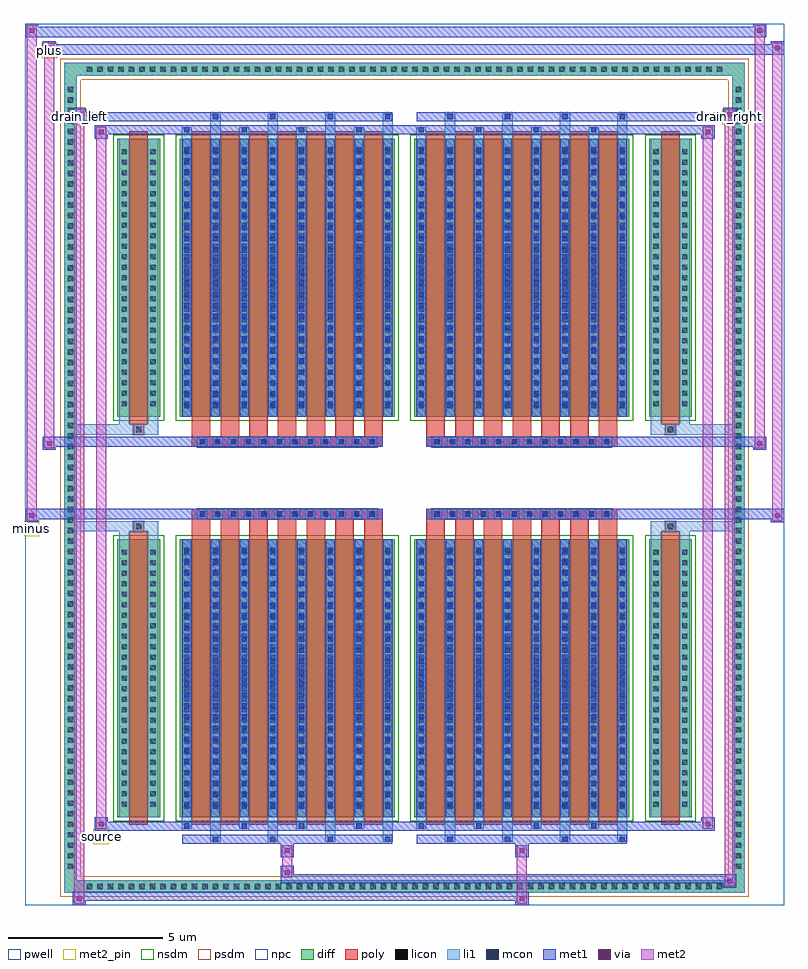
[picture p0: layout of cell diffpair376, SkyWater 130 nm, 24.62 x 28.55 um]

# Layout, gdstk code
import gdstk
lib = gdstk.Library(unit=1e-6, precision=5e-09)
def R(c, l, rs):  # rectangles x0, y0, x1, y1
    for r in rs: c.add(gdstk.rectangle(r[:2], r[2:], *l))
def A(c, l, x, y, w, h, nx, ny, dx, dy):  # array of equal rectangles
    R(c, l, [(x+i*dx, y+j*dy, x+i*dx+w, y+j*dy+h) for i in range(nx) for j in range(ny)])
def P(c, l, *ps):  # polygons
    for p in ps: c.add(gdstk.Polygon(p, *l))
pwell = (64, 44)
diff = (65, 20)
poly = (66, 20)
licon = (66, 44)
li1 = (67, 20)
mcon = (67, 44)
met1 = (68, 20)
via = (68, 44)
met2_pin = (69, 16)
met2 = (69, 20)
nsdm = (93, 44)
psdm = (94, 20)
npc = (95, 20)

diffpair376 = lib.new_cell('diffpair376')
R(diffpair376, pwell, [(-12.29,-13.84,12.29,14.71), (-9.61,-12.03,-0.01,-0.805), (0.01,-12.03,9.61,-0.805), (-9.61,0.805,-0.01,12.03), (0.01,0.805,9.61,12.03)])
A(diffpair376, diff, -10.405, -13.44, 0.41, 0.41, 61, 2, 0.34, 26.47)
A(diffpair376, diff, -11.02, -12.785, 0.41, 0.41, 1, 75, 0, 0.34)
A(diffpair376, diff, 10.61, -12.785, 0.41, 0.41, 1, 75, 0, 0.34)
R(diffpair376, diff, [(-10.405,-13.44,10.405,-13.03), (-11.02,-12.785,-10.61,12.785), (10.61,-12.785,11.02,12.785), (-9.3,-10.985,-7.92,-1.985), (-7.28,-10.985,-0.32,-1.985), (0.32,-10.985,7.28,-1.985), (7.92,-10.985,9.3,-1.985), (-9.3,1.985,-7.92,10.985), (-7.28,1.985,-0.32,10.985), (0.32,1.985,7.28,10.985), (7.92,1.985,9.3,10.985), (-10.405,13.03,10.405,13.44)])
P(diffpair376, diff, [(11.02,13.44),(-11.02,13.44),(-11.02,-13.03),(-10.61,-13.03),(-10.61,13.03),(10.61,13.03),(10.61,-13.03),(-10.61,-13.03),(-11.02,-13.03),(-11.02,-13.44),(11.02,-13.44)])
A(diffpair376, poly, -6.89, -11.235, 0.6, 9.5, 7, 2, 0.93, 12.97)
A(diffpair376, poly, 0.71, -11.235, 0.6, 9.5, 7, 2, 0.93, 12.97)
A(diffpair376, poly, -6.89, -1.735, 0.6, 0.4, 7, 2, 0.93, 3.07)
A(diffpair376, poly, 0.71, -1.735, 0.6, 0.4, 7, 2, 0.93, 3.07)
A(diffpair376, poly, -6.715, -1.335, 0.33, 0.33, 12, 2, 0.5, 2.34)
A(diffpair376, poly, 0.885, -1.335, 0.33, 0.33, 12, 2, 0.5, 2.34)
R(diffpair376, poly, [(-8.91,-11.235,-8.31,-1.735), (8.31,-11.235,8.91,-1.735), (-8.775,-1.735,-8.445,-1.405), (-8.775,-1.735,-8.445,-1.405), (8.445,-1.735,8.775,-1.405), (8.445,-1.735,8.775,-1.405), (-6.89,-1.335,-0.71,-1.005), (0.71,-1.335,6.89,-1.005), (-6.89,1.005,-0.71,1.335), (0.71,1.005,6.89,1.335), (-8.775,1.405,-8.445,1.735), (-8.775,1.405,-8.445,1.735), (8.445,1.405,8.775,1.735), (8.445,1.405,8.775,1.735), (-8.91,1.735,-8.31,11.235), (8.31,1.735,8.91,11.235)])
A(diffpair376, licon, -10.285, -13.32, 0.17, 0.17, 61, 2, 0.34, 26.47)
A(diffpair376, licon, -10.9, -12.665, 0.17, 0.17, 1, 75, 0, 0.34)
A(diffpair376, licon, 10.73, -12.665, 0.17, 0.17, 1, 75, 0, 0.34)
A(diffpair376, licon, -9.16, -10.65, 0.17, 0.17, 1, 25, 0, 0.34)
A(diffpair376, licon, -8.23, -10.65, 0.17, 0.17, 1, 25, 0, 0.34)
A(diffpair376, licon, -7.14, -10.65, 0.17, 0.17, 8, 25, 0.93, 0.34)
A(diffpair376, licon, 0.46, -10.65, 0.17, 0.17, 8, 25, 0.93, 0.34)
A(diffpair376, licon, 8.06, -10.65, 0.17, 0.17, 1, 25, 0, 0.34)
A(diffpair376, licon, 8.99, -10.65, 0.17, 0.17, 1, 25, 0, 0.34)
A(diffpair376, licon, -6.635, -1.255, 0.17, 0.17, 12, 2, 0.5, 2.34)
A(diffpair376, licon, 0.965, -1.255, 0.17, 0.17, 12, 2, 0.5, 2.34)
A(diffpair376, licon, -9.16, 2.32, 0.17, 0.17, 1, 25, 0, 0.34)
A(diffpair376, licon, -8.23, 2.32, 0.17, 0.17, 1, 25, 0, 0.34)
A(diffpair376, licon, -7.14, 2.32, 0.17, 0.17, 8, 25, 0.93, 0.34)
A(diffpair376, licon, 0.46, 2.32, 0.17, 0.17, 8, 25, 0.93, 0.34)
A(diffpair376, licon, 8.06, 2.32, 0.17, 0.17, 1, 25, 0, 0.34)
A(diffpair376, licon, 8.99, 2.32, 0.17, 0.17, 1, 25, 0, 0.34)
R(diffpair376, licon, [(-8.695,-1.655,-8.525,-1.485), (8.525,-1.655,8.695,-1.485), (-8.695,1.485,-8.525,1.655), (8.525,1.485,8.695,1.655)])
A(diffpair376, li1, -10.365, -13.4, 0.33, 0.33, 61, 2, 0.34, 26.47)
A(diffpair376, li1, -10.98, -12.745, 0.33, 0.33, 1, 75, 0, 0.34)
A(diffpair376, li1, 10.65, -12.745, 0.33, 0.33, 1, 75, 0, 0.34)
A(diffpair376, li1, -6.29, -11.79, 0.33, 0.805, 4, 2, 1.86, 22.775)
A(diffpair376, li1, -6.21, -11.79, 0.17, 0.17, 4, 2, 1.86, 23.41)
A(diffpair376, li1, 1.31, -11.79, 0.33, 0.805, 4, 2, 1.86, 22.775)
A(diffpair376, li1, 1.39, -11.79, 0.17, 0.17, 4, 2, 1.86, 23.41)
A(diffpair376, li1, -7.22, -11.36, 0.33, 0.375, 4, 2, 1.86, 22.345)
A(diffpair376, li1, -7.14, -11.36, 0.17, 0.17, 4, 2, 1.86, 22.55)
A(diffpair376, li1, 0.38, -11.36, 0.33, 0.375, 4, 2, 1.86, 22.345)
A(diffpair376, li1, 0.46, -11.36, 0.17, 0.17, 4, 2, 1.86, 22.55)
A(diffpair376, li1, -7.22, -10.985, 0.33, 9, 8, 2, 0.93, 12.97)
A(diffpair376, li1, 0.38, -10.985, 0.33, 9, 8, 2, 0.93, 12.97)
A(diffpair376, li1, -9.24, -10.73, 0.33, 0.33, 1, 25, 0, 0.34)
A(diffpair376, li1, -8.31, -10.73, 0.33, 0.33, 1, 25, 0, 0.34)
A(diffpair376, li1, -7.22, -10.73, 0.33, 0.33, 8, 25, 0.93, 0.34)
A(diffpair376, li1, 0.38, -10.73, 0.33, 0.33, 8, 25, 0.93, 0.34)
A(diffpair376, li1, 7.98, -10.73, 0.33, 0.33, 1, 25, 0, 0.34)
A(diffpair376, li1, 8.91, -10.73, 0.33, 0.33, 1, 25, 0, 0.34)
A(diffpair376, li1, -7.14, -10.71, 0.17, 0.17, 8, 24, 0.93, 0.36)
A(diffpair376, li1, -7.14, -10.71, 0.17, 8.45, 8, 2, 0.93, 12.97)
A(diffpair376, li1, 0.46, -10.71, 0.17, 0.17, 8, 24, 0.93, 0.36)
A(diffpair376, li1, 0.46, -10.71, 0.17, 8.45, 8, 2, 0.93, 12.97)
A(diffpair376, li1, -6.715, -1.335, 0.33, 0.33, 12, 2, 0.5, 2.34)
A(diffpair376, li1, 0.885, -1.335, 0.33, 0.33, 12, 2, 0.5, 2.34)
A(diffpair376, li1, -9.24, 2.24, 0.33, 0.33, 1, 25, 0, 0.34)
A(diffpair376, li1, -8.31, 2.24, 0.33, 0.33, 1, 25, 0, 0.34)
A(diffpair376, li1, -7.22, 2.24, 0.33, 0.33, 8, 25, 0.93, 0.34)
A(diffpair376, li1, 0.38, 2.24, 0.33, 0.33, 8, 25, 0.93, 0.34)
A(diffpair376, li1, 7.98, 2.24, 0.33, 0.33, 1, 25, 0, 0.34)
A(diffpair376, li1, 8.91, 2.24, 0.33, 0.33, 1, 25, 0, 0.34)
A(diffpair376, li1, -7.14, 2.26, 0.17, 0.17, 8, 24, 0.93, 0.36)
A(diffpair376, li1, 0.46, 2.26, 0.17, 0.17, 8, 24, 0.93, 0.36)
R(diffpair376, li1, [(-11.02,-13.44,-10.61,-13.03), (-11.02,-13.44,-10.61,-13.03), (-10.61,-13.44,10.61,-13.03), (10.61,-13.44,11.02,-13.03), (10.61,-13.44,11.02,-13.03), (-11.02,-13.03,-10.61,13.03), (10.61,-13.03,11.02,13.03), (-9.24,-10.985,-8.91,-1.985), (-8.31,-10.985,-7.98,-1.985), (7.98,-10.985,8.31,-1.985), (8.91,-10.985,9.24,-1.985), (-9.24,-1.985,-8.91,-1.405), (-8.31,-1.985,-7.98,-1.405), (7.98,-1.985,8.31,-1.405), (8.91,-1.985,9.24,-1.405), (-11.02,-1.735,-8.775,-1.405), (-9.24,-1.735,-8.775,-1.405), (-8.775,-1.735,-8.445,-1.405), (-8.445,-1.735,-7.98,-1.405), (7.98,-1.735,8.445,-1.405), (8.445,-1.735,8.775,-1.405), (8.445,-1.735,11.02,-1.405), (8.775,-1.735,9.24,-1.405), (-11.02,1.405,-8.775,1.735), (-9.24,1.405,-8.775,1.735), (-9.24,1.405,-8.91,1.985), (-8.775,1.405,-8.445,1.735), (-8.445,1.405,-7.98,1.735), (-8.31,1.405,-7.98,1.985), (7.98,1.405,8.445,1.735), (7.98,1.405,8.31,1.985), (8.445,1.405,8.775,1.735), (8.445,1.405,11.02,1.735), (8.775,1.405,9.24,1.735), (8.91,1.405,9.24,1.985), (-9.24,1.985,-8.91,10.985), (-8.31,1.985,-7.98,10.985), (7.98,1.985,8.31,10.985), (8.91,1.985,9.24,10.985), (-11.02,13.03,-10.61,13.44), (-11.02,13.03,-10.61,13.44), (-10.61,13.03,10.61,13.44), (10.61,13.03,11.02,13.44), (10.61,13.03,11.02,13.44)])
A(diffpair376, mcon, -6.21, -11.79, 0.17, 0.17, 4, 2, 1.86, 23.41)
A(diffpair376, mcon, 1.39, -11.79, 0.17, 0.17, 4, 2, 1.86, 23.41)
A(diffpair376, mcon, -7.14, -11.36, 0.17, 0.17, 4, 2, 1.86, 22.55)
A(diffpair376, mcon, 0.46, -11.36, 0.17, 0.17, 4, 2, 1.86, 22.55)
A(diffpair376, mcon, -7.14, -10.71, 0.17, 0.17, 8, 24, 0.93, 0.36)
A(diffpair376, mcon, 0.46, -10.71, 0.17, 0.17, 8, 24, 0.93, 0.36)
A(diffpair376, mcon, -6.635, -1.255, 0.17, 0.17, 12, 2, 0.5, 2.34)
A(diffpair376, mcon, 0.965, -1.255, 0.17, 0.17, 12, 2, 0.5, 2.34)
A(diffpair376, mcon, -7.14, 2.26, 0.17, 0.17, 8, 24, 0.93, 0.36)
A(diffpair376, mcon, 0.46, 2.26, 0.17, 0.17, 8, 24, 0.93, 0.36)
A(diffpair376, met1, -6.27, -11.85, 0.29, 0.29, 4, 2, 1.86, 23.41)
A(diffpair376, met1, 1.33, -11.85, 0.29, 0.29, 4, 2, 1.86, 23.41)
A(diffpair376, met1, -7.2, -11.42, 0.29, 0.29, 4, 2, 1.86, 22.55)
A(diffpair376, met1, 0.4, -11.42, 0.29, 0.29, 4, 2, 1.86, 22.55)
A(diffpair376, met1, -7.2, -10.985, 0.29, 9, 8, 2, 0.93, 12.97)
A(diffpair376, met1, 0.4, -10.985, 0.29, 9, 8, 2, 0.93, 12.97)
A(diffpair376, met1, -7.2, -10.77, 0.29, 0.29, 8, 24, 0.93, 0.36)
A(diffpair376, met1, 0.4, -10.77, 0.29, 0.29, 8, 24, 0.93, 0.36)
A(diffpair376, met1, -6.695, -1.315, 0.29, 0.29, 12, 2, 0.5, 2.34)
A(diffpair376, met1, 0.905, -1.315, 0.29, 0.29, 12, 2, 0.5, 2.34)
A(diffpair376, met1, -7.2, 2.2, 0.29, 0.29, 8, 24, 0.93, 0.36)
A(diffpair376, met1, 0.4, 2.2, 0.29, 0.29, 8, 24, 0.93, 0.36)
R(diffpair376, met1, [(-10.75,-13.84,-10.32,-13.41), (3.585,-13.84,4.015,-13.41), (-10.75,-13.7,4.015,-13.41), (10.32,-13.27,10.75,-12.84), (-4.015,-13.13,10.75,-12.84), (-4.015,-12.99,-3.585,-12.56), (-4.015,-12.28,-3.585,-11.85), (3.585,-12.28,4.015,-11.85), (-7.2,-11.85,-0.4,-11.56), (0.4,-11.85,7.2,-11.56), (-10.04,-11.42,-9.61,-10.99), (-10.04,-11.42,-7.2,-11.13), (-7.2,-11.42,-0.4,-11.13), (-0.4,-11.42,0.4,-11.13), (0.4,-11.42,7.2,-11.13), (7.2,-11.42,10.04,-11.13), (9.61,-11.42,10.04,-10.99), (-12.29,-1.435,-11.86,-1.005), (11.86,-1.435,12.29,-1.005), (-12.29,-1.335,-0.71,-1.005), (-6.89,-1.335,-0.71,-1.005), (0.71,-1.335,6.89,-1.005), (0.71,-1.335,12.29,-1.005), (-11.72,0.905,-11.29,1.335), (11.29,0.905,11.72,1.335), (-11.72,1.005,-6.89,1.335), (-6.89,1.005,-0.71,1.335), (0.71,1.005,6.89,1.335), (6.89,1.005,11.72,1.335), (-10.04,10.99,-9.61,11.42), (9.61,10.99,10.04,11.42), (-10.04,11.13,-7.2,11.42), (-7.2,11.13,-0.4,11.42), (-0.4,11.13,0.4,11.42), (0.4,11.13,7.2,11.42), (7.2,11.13,10.04,11.42), (-10.75,11.56,-10.32,11.99), (-10.75,11.56,-7.2,11.85), (-7.2,11.56,-0.4,11.85), (0.4,11.56,7.2,11.85), (7.2,11.56,10.75,11.85), (10.32,11.56,10.75,11.99), (-11.72,13.71,-11.29,14.14), (-11.72,13.71,-9.61,14.04), (-9.61,13.71,9.61,14.04), (9.61,13.71,12.29,14.04), (11.86,13.71,12.29,14.14), (-12.29,14.28,-11.86,14.71), (-12.29,14.28,-9.61,14.61), (-9.61,14.28,9.61,14.61), (9.61,14.28,11.72,14.61), (11.29,14.28,11.72,14.71)])
R(diffpair376, via, [(-10.61,-13.7,-10.46,-13.55), (3.725,-13.7,3.875,-13.55), (10.46,-13.13,10.61,-12.98), (-3.875,-12.85,-3.725,-12.7), (-3.875,-12.14,-3.725,-11.99), (3.725,-12.14,3.875,-11.99), (-9.9,-11.28,-9.75,-11.13), (9.75,-11.28,9.9,-11.13), (-12.15,-1.295,-12,-1.145), (12,-1.295,12.15,-1.145), (-11.58,1.045,-11.43,1.195), (11.43,1.045,11.58,1.195), (-9.9,11.13,-9.75,11.28), (9.75,11.13,9.9,11.28), (-10.61,11.7,-10.46,11.85), (10.46,11.7,10.61,11.85), (-11.58,13.85,-11.43,14), (12,13.85,12.15,14), (-12.15,14.42,-12,14.57), (11.43,14.42,11.58,14.57)])
R(diffpair376, met2_pin, [(-10.075,-11.87,-9.575,-11.37), (-12.325,-1.885,-11.825,-1.385), (-10.785,11.44,-10.285,11.94), (10.285,11.44,10.785,11.94), (-11.755,13.59,-11.255,14.09)])
R(diffpair376, met2, [(-10.7,-13.79,-10.37,-13.46), (-10.7,-13.79,-10.37,11.94), (3.635,-13.79,3.965,-13.46), (3.635,-13.46,3.965,-12.23), (10.37,-13.22,10.7,-12.89), (10.37,-13.22,10.7,11.94), (-3.965,-12.94,-3.635,-12.61), (-3.965,-12.61,-3.635,-12.23), (-3.965,-12.23,-3.635,-11.9), (3.635,-12.23,3.965,-11.9), (-9.99,-11.37,-9.66,-11.04), (-9.99,-11.37,-9.66,11.37), (9.66,-11.37,9.99,-11.04), (9.66,-11.37,9.99,11.37), (-12.24,-1.385,-11.91,-1.055), (-12.24,-1.385,-11.91,14.66), (11.91,-1.385,12.24,-1.055), (11.91,-1.385,12.24,14.09), (-11.67,0.955,-11.34,1.285), (-11.67,0.955,-11.34,14.09), (11.34,0.955,11.67,1.285), (11.34,0.955,11.67,14.66), (-9.99,11.04,-9.66,11.37), (9.66,11.04,9.99,11.37), (-10.7,11.61,-10.37,11.94), (10.37,11.61,10.7,11.94), (-11.67,13.76,-11.34,14.09), (11.91,13.76,12.24,14.09), (-12.24,14.33,-11.91,14.66), (11.34,14.33,11.67,14.66)])
P(diffpair376, met2, [(12.24,-1.385),(12.24,-1.385),(12.24,-1.055),(12.24,-1.055)],
  [(12.24,13.76),(12.24,13.76),(12.24,14.09),(12.24,14.09)],
  [(-11.91,-1.385),(-11.91,-1.385),(-11.91,-1.055),(-11.91,-1.055)],
  [(-11.91,14.33),(-11.91,14.33),(-11.91,14.66),(-11.91,14.66)],
  [(11.67,0.955),(11.67,0.955),(11.67,1.285),(11.67,1.285)],
  [(11.67,14.33),(11.67,14.33),(11.67,14.66),(11.67,14.66)],
  [(-11.34,0.955),(-11.34,0.955),(-11.34,1.285),(-11.34,1.285)],
  [(-11.34,13.76),(-11.34,13.76),(-11.34,14.09),(-11.34,14.09)],
  [(-10.37,-13.79),(-10.37,-13.79),(-10.37,-13.46),(-10.37,-13.46)],
  [(-10.37,11.61),(-10.37,11.61),(-10.37,11.94),(-10.37,11.94)],
  [(10.7,-13.22),(10.7,-13.22),(10.7,-12.89),(10.7,-12.89)],
  [(10.7,11.61),(10.7,11.61),(10.7,11.94),(10.7,11.94)],
  [(-9.66,-11.37),(-9.66,-11.37),(-9.66,-11.04),(-9.66,-11.04)],
  [(-9.66,11.04),(-9.66,11.04),(-9.66,11.37),(-9.66,11.37)],
  [(9.99,-11.37),(9.99,-11.37),(9.99,-11.04),(9.99,-11.04)],
  [(9.99,11.04),(9.99,11.04),(9.99,11.37),(9.99,11.37)])
R(diffpair376, nsdm, [(-9.43,-11.115,-7.79,-1.855), (-7.41,-11.115,-0.19,-1.855), (0.19,-11.115,7.41,-1.855), (7.79,-11.115,9.43,-1.855), (-9.43,1.855,-7.79,11.115), (-7.41,1.855,-0.19,11.115), (0.19,1.855,7.41,11.115), (7.79,1.855,9.43,11.115)])
P(diffpair376, psdm, [(11.15,13.57),(-11.15,13.57),(-11.15,-12.9),(-10.48,-12.9),(-10.48,12.9),(10.48,12.9),(10.48,-12.9),(-10.48,-12.9),(-11.15,-12.9),(-11.15,-13.57),(11.15,-13.57)])
A(diffpair376, npc, -6.735, -1.355, 0.37, 0.37, 12, 2, 0.5, 2.34)
A(diffpair376, npc, 0.865, -1.355, 0.37, 0.37, 12, 2, 0.5, 2.34)
R(diffpair376, npc, [(-8.795,-1.755,-8.425,-1.385), (8.425,-1.755,8.795,-1.385), (-6.735,-1.355,-5.865,-0.985), (-6.735,-1.355,-5.865,-0.985), (-6.235,-1.355,-5.365,-0.985), (-6.235,-1.355,-5.365,-0.985), (-5.735,-1.355,-4.865,-0.985), (-5.735,-1.355,-4.865,-0.985), (-5.235,-1.355,-4.365,-0.985), (-5.235,-1.355,-4.365,-0.985), (-4.735,-1.355,-3.865,-0.985), (-4.735,-1.355,-3.865,-0.985), (-4.235,-1.355,-3.365,-0.985), (-4.235,-1.355,-3.365,-0.985), (-3.735,-1.355,-2.865,-0.985), (-3.735,-1.355,-2.865,-0.985), (-3.235,-1.355,-2.365,-0.985), (-3.235,-1.355,-2.365,-0.985), (-2.735,-1.355,-1.865,-0.985), (-2.735,-1.355,-1.865,-0.985), (-2.235,-1.355,-1.365,-0.985), (-2.235,-1.355,-1.365,-0.985), (-1.735,-1.355,-0.865,-0.985), (-1.735,-1.355,-0.865,-0.985), (0.865,-1.355,1.735,-0.985), (0.865,-1.355,1.735,-0.985), (1.365,-1.355,2.235,-0.985), (1.365,-1.355,2.235,-0.985), (1.865,-1.355,2.735,-0.985), (1.865,-1.355,2.735,-0.985), (2.365,-1.355,3.235,-0.985), (2.365,-1.355,3.235,-0.985), (2.865,-1.355,3.735,-0.985), (2.865,-1.355,3.735,-0.985), (3.365,-1.355,4.235,-0.985), (3.365,-1.355,4.235,-0.985), (3.865,-1.355,4.735,-0.985), (3.865,-1.355,4.735,-0.985), (4.365,-1.355,5.235,-0.985), (4.365,-1.355,5.235,-0.985), (4.865,-1.355,5.735,-0.985), (4.865,-1.355,5.735,-0.985), (5.365,-1.355,6.235,-0.985), (5.365,-1.355,6.235,-0.985), (5.865,-1.355,6.735,-0.985), (5.865,-1.355,6.735,-0.985), (-6.735,0.985,-5.865,1.355), (-6.735,0.985,-5.865,1.355), (-6.235,0.985,-5.365,1.355), (-6.235,0.985,-5.365,1.355), (-5.735,0.985,-4.865,1.355), (-5.735,0.985,-4.865,1.355), (-5.235,0.985,-4.365,1.355), (-5.235,0.985,-4.365,1.355), (-4.735,0.985,-3.865,1.355), (-4.735,0.985,-3.865,1.355), (-4.235,0.985,-3.365,1.355), (-4.235,0.985,-3.365,1.355), (-3.735,0.985,-2.865,1.355), (-3.735,0.985,-2.865,1.355), (-3.235,0.985,-2.365,1.355), (-3.235,0.985,-2.365,1.355), (-2.735,0.985,-1.865,1.355), (-2.735,0.985,-1.865,1.355), (-2.235,0.985,-1.365,1.355), (-2.235,0.985,-1.365,1.355), (-1.735,0.985,-0.865,1.355), (-1.735,0.985,-0.865,1.355), (0.865,0.985,1.735,1.355), (0.865,0.985,1.735,1.355), (1.365,0.985,2.235,1.355), (1.365,0.985,2.235,1.355), (1.865,0.985,2.735,1.355), (1.865,0.985,2.735,1.355), (2.365,0.985,3.235,1.355), (2.365,0.985,3.235,1.355), (2.865,0.985,3.735,1.355), (2.865,0.985,3.735,1.355), (3.365,0.985,4.235,1.355), (3.365,0.985,4.235,1.355), (3.865,0.985,4.735,1.355), (3.865,0.985,4.735,1.355), (4.365,0.985,5.235,1.355), (4.365,0.985,5.235,1.355), (4.865,0.985,5.735,1.355), (4.865,0.985,5.735,1.355), (5.365,0.985,6.235,1.355), (5.365,0.985,6.235,1.355), (5.865,0.985,6.735,1.355), (5.865,0.985,6.735,1.355), (-8.795,1.385,-8.425,1.755), (8.425,1.385,8.795,1.755)])
diffpair376.add(gdstk.Label('minus', (-12.075,-1.635), layer=69, texttype=5))
diffpair376.add(gdstk.Label('drain_right', (10.535,11.69), layer=69, texttype=5))
diffpair376.add(gdstk.Label('drain_left', (-10.535,11.69), layer=69, texttype=5))
diffpair376.add(gdstk.Label('source', (-9.825,-11.62), layer=69, texttype=5))
diffpair376.add(gdstk.Label('plus', (-11.505,13.84), layer=69, texttype=5))

lib.write_gds('diffpair376.gds')
